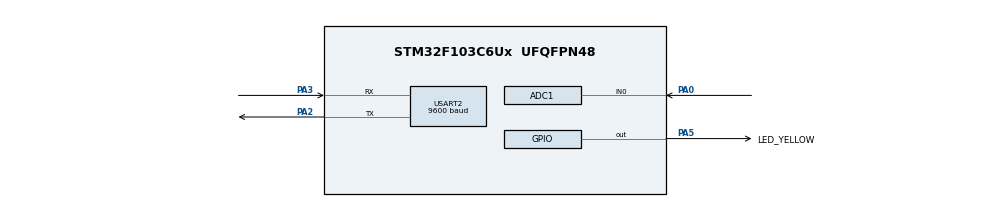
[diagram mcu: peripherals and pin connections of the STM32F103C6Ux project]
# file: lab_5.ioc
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ADC1.Channel-0\#ChannelRegularConversion=ADC_CHANNEL_0
ADC1.ContinuousConvMode=ENABLE
ADC1.NbrOfConversionFlag=1
ADC1.Rank-0\#ChannelRegularConversion=1
ADC1.SamplingTime-0\#ChannelRegularConversion=ADC_SAMPLETIME_1CYCLE_5
ADC1.master=1
Mcu.Family=STM32F1
Mcu.Name=STM32F103C6Ux
Mcu.Package=UFQFPN48
NVIC.PriorityGroup=NVIC_PRIORITYGROUP_4
NVIC.TIM2_IRQn=true\:0\:0\:false\:false\:true\:true\:true
NVIC.USART2_IRQn=true\:0\:0\:false\:false\:true\:true\:true
PA0-WKUP.Signal=ADCx_IN0
PA2.Mode=Asynchronous
PA2.Signal=USART2_TX
PA3.Mode=Asynchronous
PA3.Signal=USART2_RX
PA5.GPIO_Label=LED_YELLOW
PA5.Signal=GPIO_Output
PA6.Signal=S_TIM3_CH1
ProjectManager.HeapSize=0x200
ProjectManager.StackSize=0x400
ProjectManager.TargetToolchain=STM32CubeIDE
RCC.APB1Freq_Value=8000000
RCC.APB2Freq_Value=8000000
SH.ADCx_IN0.0=ADC1_IN0,IN0
SH.S_TIM3_CH1.0=TIM3_CH1
TIM2.Period=9
TIM2.Prescaler=7999
USART2.BaudRate=9600
USART2.VirtualMode=VM_ASYNC
VP_SYS_VS_ND.Mode=No_Debug
VP_TIM2_VS_ClockSourceINT.Mode=Internal
board=custom

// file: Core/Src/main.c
/* USER CODE BEGIN Header */
/**
  ******************************************************************************
  * @file           : main.c
  * @brief          : Main program body
  ******************************************************************************
  * @attention
  *
  * <h2><center>&copy; Copyright (c) 2022 STMicroelectronics.
  * All rights reserved.</center></h2>
  *
  * This software component is licensed by ST under BSD 3-Clause license,
  * the "License"; You may not use this file except in compliance with the
  * License. You may obtain a copy of the License at:
  *                        opensource.org/licenses/BSD-3-Clause
  *
  ******************************************************************************
  */
/* USER CODE END Header */
#include "main.h"

/* USER CODE BEGIN Includes */
#include "software_timer.h"
#include "stdio.h"
#include "string.h"
/* USER CODE END Includes */

ADC_HandleTypeDef hadc1;

TIM_HandleTypeDef htim2;

UART_HandleTypeDef huart2;

void SystemClock_Config(void);
static void MX_GPIO_Init(void);
static void MX_ADC1_Init(void);
static void MX_USART2_UART_Init(void);
static void MX_TIM2_Init(void);

/* USER CODE BEGIN 0 */
uint8_t system_title[] = "UART program\r\n";
uint8_t system_tutorial1[] = " -Enter !RST# to Run program.\r\n";
uint8_t system_tutorial2[] = " -Enter !OK# to Confirm and End program.\r\n";
uint8_t system_error[] = "\r\nError! Please enter again!\r\n";

uint8_t input = 0;
uint8_t buffer[MAX_BUFFER_SIZE];
uint8_t index_buffer = 0;
uint8_t buffer_flag = 0;
char str[30];
int status_command;
int status_UART;
int print_flag = 0;
void command_parser_fsm(){
	switch(status_command){
	case	INIT:
		HAL_UART_Transmit(&huart2, &input, 1, 1000);
		if(input == '!'){
			status_command = RST_1;
		} else {
			 HAL_UART_Transmit(&huart2, system_error, sizeof(system_error), 1000);
		}
		break;
	case	RST_1:
		HAL_UART_Transmit(&huart2, &input, 1, 1000);
		if(input == 'R'){
			status_command = RST_2;
		} else {
			status_command = INIT;
			HAL_UART_Transmit(&huart2, system_error, sizeof(system_error), 1000);
		}
		break;
	case	RST_2:
		HAL_UART_Transmit(&huart2, &input, 1, 1000);
		if(input == 'S'){
			status_command = RST_3;
		} else {
			status_command = INIT;
			HAL_UART_Transmit(&huart2, system_error, sizeof(system_error), 1000);
		}
		break;
	case	RST_3:
		HAL_UART_Transmit(&huart2, &input, 1, 1000);
		if(input == 'T'){
			status_command = RST_4;
		} else {
			status_command = INIT;
			HAL_UART_Transmit(&huart2, system_error, sizeof(system_error), 1000);
		}
		break;
	case	RST_4:
		HAL_UART_Transmit(&huart2, &input, 1, 1000);
		if(input == '#'){
			status_command = START;
			print_flag = 1;
		} else {
			status_command = INIT;
			HAL_UART_Transmit(&huart2, system_error, sizeof(system_error), 1000);
		}
		break;
	case	START:
		HAL_UART_Transmit(&huart2, &input, 1, 1000);
		if(input == '!'){
			status_command = RST_1;
		} else {
			status_command = START;
			HAL_UART_Transmit(&huart2, system_error, sizeof(system_error), 1000);
		}
		break;
	case	OK_1:
		HAL_UART_Transmit(&huart2, &input, 1, 1000);
		if(input == '!'){
			status_command = RST_1;
		} else {
			status_command = START;
			HAL_UART_Transmit(&huart2, system_error, sizeof(system_error), 1000);
		}
		break;
	case	OK_2:
		HAL_UART_Transmit(&huart2, &input, 1, 1000);
		if(input == '!'){
			status_command = RST_1;
		} else {
			status_command = START;
			HAL_UART_Transmit(&huart2, system_error, sizeof(system_error), 1000);
		}
		break;
	case	OK_3:
		HAL_UART_Transmit(&huart2, &input, 1, 1000);
		if(input == '!'){
			status_command = RST_1;
		} else {
			status_command = START;
			HAL_UART_Transmit(&huart2, system_error, sizeof(system_error), 1000);
		}
		break;
	default:
		break;
	}
}

void uart_communiation_fsm(){
	if(print_flag == 1){
		HAL_UART_Transmit(&huart2, (void*)str, sprintf(str, "\r\n!ADC=%lu#", HAL_ADC_GetValue(&hadc1)), 1000);
		HAL_Delay(1000);
	}
}
void HAL_UART_RxCpltCallback(UART_HandleTypeDef *huart){
	if(huart->Instance == USART2){
		buffer[index_buffer++] = input;
		if(index_buffer == 30) index_buffer = 0;
		buffer_flag = 1;
		HAL_UART_Receive_IT(&huart2, &input, 1);
	}
}
/* USER CODE END 0 */

int main(void)
{

  /* MCU Configuration--------------------------------------------------------*/

  /* Reset of all peripherals, Initializes the Flash interface and the Systick. */
  HAL_Init();

  /* Configure the system clock */
  SystemClock_Config();

  /* Initialize all configured peripherals */
  MX_GPIO_Init();
  MX_ADC1_Init();
  MX_USART2_UART_Init();
  MX_ADC1_Init();
  MX_TIM2_Init();
  /* USER CODE BEGIN 2 */
  HAL_UART_Receive_IT(&huart2, &input, 1);
  HAL_TIM_Base_Start_IT(&htim2);
  HAL_ADC_Start(&hadc1);
  /* USER CODE END 2 */

  /* Infinite loop */
  /* USER CODE BEGIN WHILE */
  HAL_UART_Transmit(&huart2, system_title, sizeof(system_title), 1000);
  HAL_UART_Transmit(&huart2, system_tutorial1, sizeof(system_tutorial1), 1000);
  HAL_UART_Transmit(&huart2, system_tutorial2, sizeof(system_tutorial2), 1000);
  while (1)
  {
	  if(buffer_flag == 1){
		  command_parser_fsm();
		  buffer_flag = 0;
	  }
	  uart_communiation_fsm();

    /* USER CODE END WHILE */

  }
}

void SystemClock_Config(void)
{
  RCC_OscInitTypeDef RCC_OscInitStruct = {0};
  RCC_ClkInitTypeDef RCC_ClkInitStruct = {0};
  RCC_PeriphCLKInitTypeDef PeriphClkInit = {0};

  /** Initializes the RCC Oscillators according to the specified parameters
  * in the RCC_OscInitTypeDef structure.
  */
  RCC_OscInitStruct.OscillatorType = RCC_OSCILLATORTYPE_HSI;
  RCC_OscInitStruct.HSIState = RCC_HSI_ON;
  RCC_OscInitStruct.HSICalibrationValue = RCC_HSICALIBRATION_DEFAULT;
  RCC_OscInitStruct.PLL.PLLState = RCC_PLL_NONE;
  if (HAL_RCC_OscConfig(&RCC_OscInitStruct) != HAL_OK)
  {
    Error_Handler();
  }
  /** Initializes the CPU, AHB and APB buses clocks
  */
  RCC_ClkInitStruct.ClockType = RCC_CLOCKTYPE_HCLK|RCC_CLOCKTYPE_SYSCLK
                              |RCC_CLOCKTYPE_PCLK1|RCC_CLOCKTYPE_PCLK2;
  RCC_ClkInitStruct.SYSCLKSource = RCC_SYSCLKSOURCE_HSI;
  RCC_ClkInitStruct.AHBCLKDivider = RCC_SYSCLK_DIV1;
  RCC_ClkInitStruct.APB1CLKDivider = RCC_HCLK_DIV1;
  RCC_ClkInitStruct.APB2CLKDivider = RCC_HCLK_DIV1;

  if (HAL_RCC_ClockConfig(&RCC_ClkInitStruct, FLASH_LATENCY_0) != HAL_OK)
  {
    Error_Handler();
  }
  PeriphClkInit.PeriphClockSelection = RCC_PERIPHCLK_ADC;
  PeriphClkInit.AdcClockSelection = RCC_ADCPCLK2_DIV2;
  if (HAL_RCCEx_PeriphCLKConfig(&PeriphClkInit) != HAL_OK)
  {
    Error_Handler();
  }
}

static void MX_ADC1_Init(void)
{

  ADC_ChannelConfTypeDef sConfig = {0};

  /** Common config
  */
  hadc1.Instance = ADC1;
  hadc1.Init.ScanConvMode = ADC_SCAN_DISABLE;
  hadc1.Init.ContinuousConvMode = ENABLE;
  hadc1.Init.DiscontinuousConvMode = DISABLE;
  hadc1.Init.ExternalTrigConv = ADC_SOFTWARE_START;
  hadc1.Init.DataAlign = ADC_DATAALIGN_RIGHT;
  hadc1.Init.NbrOfConversion = 1;
  if (HAL_ADC_Init(&hadc1) != HAL_OK)
  {
    Error_Handler();
  }
  /** Configure Regular Channel
  */
  sConfig.Channel = ADC_CHANNEL_0;
  sConfig.Rank = ADC_REGULAR_RANK_1;
  sConfig.SamplingTime = ADC_SAMPLETIME_1CYCLE_5;
  if (HAL_ADC_ConfigChannel(&hadc1, &sConfig) != HAL_OK)
  {
    Error_Handler();
  }

}

static void MX_TIM2_Init(void)
{

  TIM_ClockConfigTypeDef sClockSourceConfig = {0};
  TIM_MasterConfigTypeDef sMasterConfig = {0};

  htim2.Instance = TIM2;
  htim2.Init.Prescaler = 7999;
  htim2.Init.CounterMode = TIM_COUNTERMODE_UP;
  htim2.Init.Period = 9;
  htim2.Init.ClockDivision = TIM_CLOCKDIVISION_DIV1;
  htim2.Init.AutoReloadPreload = TIM_AUTORELOAD_PRELOAD_DISABLE;
  if (HAL_TIM_Base_Init(&htim2) != HAL_OK)
  {
    Error_Handler();
  }
  sClockSourceConfig.ClockSource = TIM_CLOCKSOURCE_INTERNAL;
  if (HAL_TIM_ConfigClockSource(&htim2, &sClockSourceConfig) != HAL_OK)
  {
    Error_Handler();
  }
  sMasterConfig.MasterOutputTrigger = TIM_TRGO_RESET;
  sMasterConfig.MasterSlaveMode = TIM_MASTERSLAVEMODE_DISABLE;
  if (HAL_TIMEx_MasterConfigSynchronization(&htim2, &sMasterConfig) != HAL_OK)
  {
    Error_Handler();
  }

}

static void MX_USART2_UART_Init(void)
{

  huart2.Instance = USART2;
  huart2.Init.BaudRate = 9600;
  huart2.Init.WordLength = UART_WORDLENGTH_8B;
  huart2.Init.StopBits = UART_STOPBITS_1;
  huart2.Init.Parity = UART_PARITY_NONE;
  huart2.Init.Mode = UART_MODE_TX_RX;
  huart2.Init.HwFlowCtl = UART_HWCONTROL_NONE;
  huart2.Init.OverSampling = UART_OVERSAMPLING_16;
  if (HAL_UART_Init(&huart2) != HAL_OK)
  {
    Error_Handler();
  }

}

static void MX_GPIO_Init(void)
{
  GPIO_InitTypeDef GPIO_InitStruct = {0};

  /* GPIO Ports Clock Enable */
  __HAL_RCC_GPIOA_CLK_ENABLE();

  /*Configure GPIO pin Output Level */
  HAL_GPIO_WritePin(LED_YELLOW_GPIO_Port, LED_YELLOW_Pin, GPIO_PIN_RESET);

  /*Configure GPIO pin : LED_YELLOW_Pin */
  GPIO_InitStruct.Pin = LED_YELLOW_Pin;
  GPIO_InitStruct.Mode = GPIO_MODE_OUTPUT_PP;
  GPIO_InitStruct.Pull = GPIO_NOPULL;
  GPIO_InitStruct.Speed = GPIO_SPEED_FREQ_LOW;
  HAL_GPIO_Init(LED_YELLOW_GPIO_Port, &GPIO_InitStruct);

  /*Configure GPIO pin : PA6 */
  GPIO_InitStruct.Pin = GPIO_PIN_6;
  GPIO_InitStruct.Mode = GPIO_MODE_AF_PP;
  GPIO_InitStruct.Speed = GPIO_SPEED_FREQ_LOW;
  HAL_GPIO_Init(GPIOA, &GPIO_InitStruct);

}

/* USER CODE BEGIN 4 */
void HAL_TIM_PeriodElapsedCallback(TIM_HandleTypeDef *htim) {
	timeRun();
}
/* USER CODE END 4 */

void Error_Handler(void)
{
  __disable_irq();
  while (1)
  {
  }
}

/************************ (C) COPYRIGHT STMicroelectronics *****END OF FILE****/
